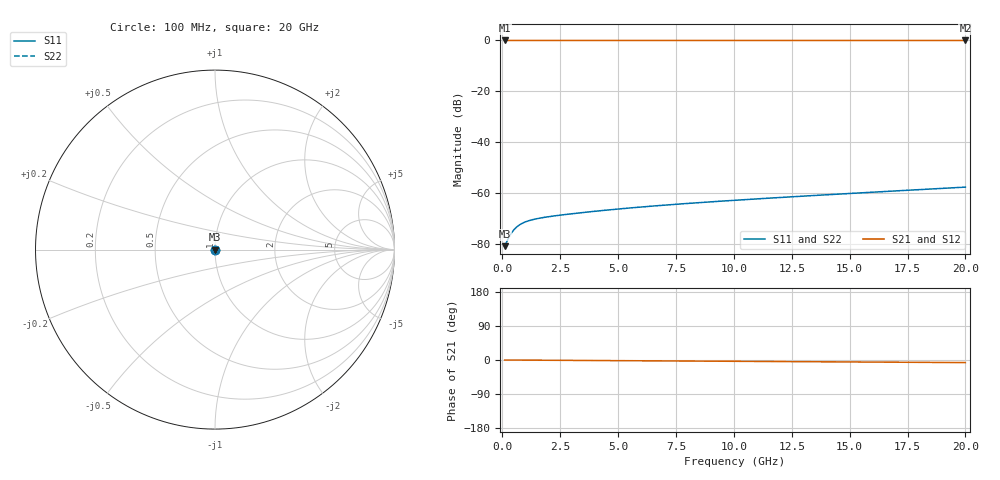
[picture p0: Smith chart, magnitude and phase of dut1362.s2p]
! Touchstone file exported from HFSS 2026.1.0
!  File:  C:/ffzhzh/LocalFiles/Ansys_Project_Files/temp_train_TSV_1362_1783196067_51560.aedt
!  Generated:  04:15:52 AM Jul  5, 2026
!  Design:  TSV
!  Project:  temp_train_TSV_1362_1783196067_51560
! Variables:
!  h_bsmrdl = 2um
!  h_ox = 20um
!  h_rdl = 5um
!  h_sub = 66.11um
!  h_tmrdl = 5um
!  h_tsv = 66.11um
!  h_via = 3um
!  l_bsmrdl = 300um
!  l_sub = 424.06um
!  l_tmrdl = 200um
!  m_sub = 200um
!  pitch = 47.55um
!  r_tsv = 12.03um
!  s_tmrdl = 10um
!  w_bsmrdl = 18um
!  w_sub = 500um
!  w_tmrdl = 12um
!  x_tsv_center1 = 206um
!  x_tsv_center2 = 524um
!  x_tsv_center3 = 736um
!  x_tsv_center4 = 1054um
!  x_tsv_center5 = 1266um
!  x_tsv_center6 = 1584um
# GHz S MA R 50.000000
! Terminal data exported
! Port[1] = TSV1_1_T1
! Port[2] = TSV1_1_T2
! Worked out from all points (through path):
!   200 points, 100 MHz to 20 GHz, reference 50 ohm
!   highest |S21| = 0.00 dB at 100 MHz (marker M1); lowest = 0.0 dB at 20 GHz (marker M2)
!   lowest |S11| = -80.9 dB at 100 MHz (marker M3), VSWR 1.00, Z = 50 + j0.00311 ohm
!   |S11| at or under -10 dB: start of sweep to end of sweep
!   |S22| runs from -80.9 to -57.7 dB; largest |S21 - S12| = 3.7e-15
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0.1  9.038e-05 20.2  0.9999 -0.0  0.9999 -0.0  9.038e-05 20.2
! Gamma 0 0 0 0
! Port Impedance 50 0 50 0
0.2  0.0001125 32.1  0.9999 -0.1  0.9999 -0.1  0.0001125 32.1
0.3  0.0001391 37.2  0.9999 -0.1  0.9999 -0.1  0.0001391 37.2
0.4  0.0001655 38.5  0.9999 -0.1  0.9999 -0.1  0.0001655 38.5
0.5  0.0001898 38.1  0.9999 -0.2  0.9999 -0.2  0.0001898 38.1
0.6  0.0002112 36.8  0.9998 -0.2  0.9998 -0.2  0.0002112 36.8
0.7  0.0002298 35.2  0.9998 -0.2  0.9998 -0.2  0.0002298 35.2
0.8  0.0002458 33.5  0.9998 -0.3  0.9998 -0.3  0.0002458 33.5
1  0.0002716 30.2  0.9998 -0.4  0.9998 -0.4  0.0002715 30.2
1.1  0.000282 28.8  0.9998 -0.4  0.9998 -0.4  0.000282 28.8
1.3  0.0002996 26.2  0.9997 -0.5  0.9997 -0.5  0.0002996 26.2
1.5  0.000314 24.0  0.9997 -0.5  0.9997 -0.5  0.000314 24.0
1.8  0.0003323 21.3  0.9997 -0.6  0.9997 -0.6  0.0003323 21.3
2.5  0.000368 16.7  0.9996 -0.9  0.9996 -0.9  0.000368 16.7
3.5  0.0004152 11.3  0.9996 -1.2  0.9996 -1.2  0.0004152 11.3
5.1  0.0004903 3.0  0.9995 -1.8  0.9995 -1.8  0.0004903 3.0
6.8  0.0005695 -5.6  0.9994 -2.3  0.9994 -2.3  0.0005694 -5.6
8.3  0.0006392 -12.8  0.9994 -2.9  0.9994 -2.9  0.0006391 -12.8
10.1  0.0007246 -20.5  0.9993 -3.5  0.9993 -3.5  0.0007245 -20.5
13.4  0.0008925 -32.2  0.9992 -4.6  0.9992 -4.6  0.0008924 -32.2
16.7  0.001084 -41.3  0.9991 -5.7  0.9991 -5.7  0.001084 -41.3
20  0.001309 -48.4  0.999 -6.8  0.999 -6.8  0.001308 -48.4
